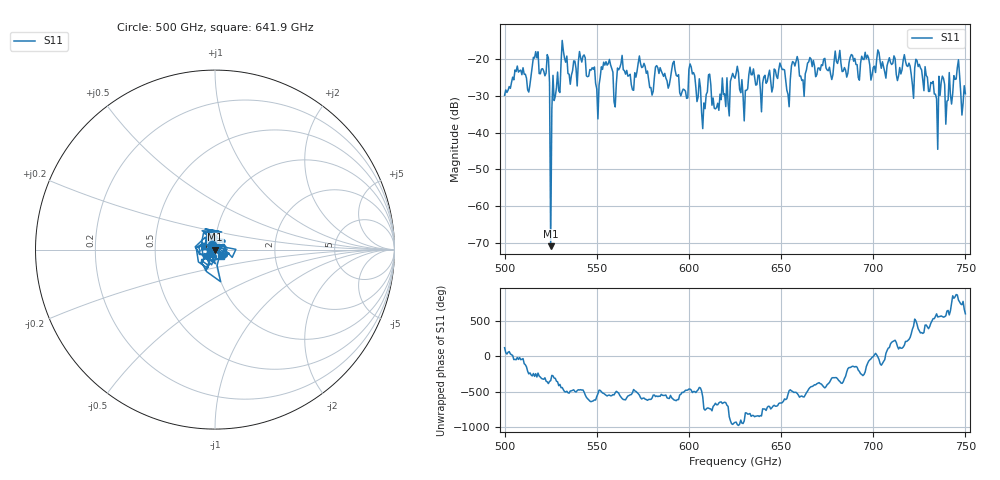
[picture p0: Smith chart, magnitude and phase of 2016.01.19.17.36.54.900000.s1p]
!Created with skrf (http://scikit-rf.org).
# GHz S RI R 50.0
!freq ReS11 ImS11
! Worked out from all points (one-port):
!   401 points, 500 GHz to 750 GHz, reference 50 ohm
!   lowest |S11| = -71.0 dB at 525 GHz (marker M1), VSWR 1.00, Z = 50 + j0.00801 ohm
!   |S11| at or under -10 dB: start of sweep to end of sweep
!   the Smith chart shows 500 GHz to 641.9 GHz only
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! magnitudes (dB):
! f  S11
! 500 GHz  -29.8
! 513.1 GHz  -28.9
! 516.9 GHz  -17.9
! 523.1 GHz  -18.7
! 525 GHz  -71.0
! 526.2 GHz  -24.3
! 526.9 GHz  -31.2
! 531.2 GHz  -14.8
! 541.9 GHz  -20.7
! 550.6 GHz  -36.2
! 562.5 GHz  -22.2
! 593.8 GHz  -24.6
! 598.1 GHz  -28.7
! 601.9 GHz  -24.0
! 608.1 GHz  -31.9
! 610.6 GHz  -24.2
! 615 GHz  -33.1
! 625 GHz  -25.1
! 630.6 GHz  -28.5
! 633.8 GHz  -24.2
! 650.6 GHz  -22.8
! 653.8 GHz  -29.5
! 656.2 GHz  -20.6
! 687.5 GHz  -19.4
! 718.8 GHz  -21.9
! 733.8 GHz  -29.5
! 745 GHz  -25.3
! 750 GHz  -29.4
